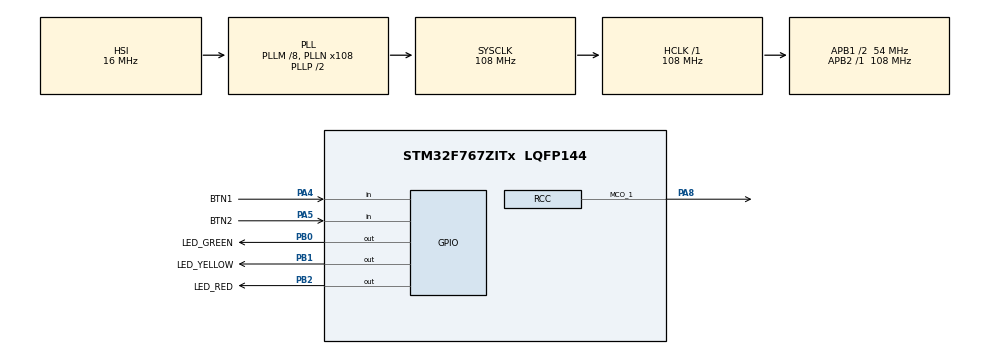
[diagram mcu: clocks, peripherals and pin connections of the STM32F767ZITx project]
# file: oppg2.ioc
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Mcu.Family=STM32F7
Mcu.Name=STM32F767ZITx
Mcu.Package=LQFP144
NVIC.PriorityGroup=NVIC_PRIORITYGROUP_4
PA4.GPIO_Label=BTN1
PA4.Signal=GPIO_Input
PA5.GPIO_Label=BTN2
PA5.Signal=GPIO_Input
PA8.Mode=Clock-out-1
PA8.Signal=RCC_MCO_1
PB0.GPIO_Label=LED_GREEN
PB0.Signal=GPIO_Output
PB1.GPIO_Label=LED_YELLOW
PB1.Signal=GPIO_Output
PB2.GPIO_Label=LED_RED
PB2.Signal=GPIO_Output
PH0/OSC_IN.Mode=HSE-External-Oscillator
PH0/OSC_IN.Signal=RCC_OSC_IN
PH1/OSC_OUT.Mode=HSE-External-Oscillator
PH1/OSC_OUT.Signal=RCC_OSC_OUT
ProjectManager.HeapSize=0x200
ProjectManager.StackSize=0x400
ProjectManager.TargetToolchain=STM32CubeIDE
RCC.48MHZClocksFreq_Value=24000000
RCC.AHBFreq_Value=108000000
RCC.APB1CLKDivider=RCC_HCLK_DIV2
RCC.APB1Freq_Value=54000000
RCC.APB1TimFreq_Value=108000000
RCC.APB2Freq_Value=108000000
RCC.APB2TimFreq_Value=108000000
RCC.CortexFreq_Value=108000000
RCC.HCLKFreq_Value=108000000
RCC.HSE_VALUE=8000000
RCC.HSI_VALUE=16000000
RCC.LSE_VALUE=32768
RCC.PLLM=8
RCC.PLLMUL=RCC_PLL_MUL9
RCC.PLLN=108
RCC.PRESCALERUSB=RCC_USBCLKSOURCE_PLL_DIV1_5
RCC.SYSCLKFreq_VALUE=108000000
RCC.SYSCLKSource=RCC_SYSCLKSOURCE_PLLCLK
RCC.SYSCLKSourceVirtual=RCC_SYSCLKSOURCE_PLLCLK
RCC.USBFreq_Value=108000000
RCC.VCOOutputFreq_Value=216000000
TIM2.Prescaler=54-1
VP_TIM2_VS_ClockSourceINT.Mode=Internal
board=NUCLEO-F767ZI

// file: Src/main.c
/* USER CODE BEGIN Header */
/**
  ******************************************************************************
  * @file           : main.c
  * @brief          : Main program body
  ******************************************************************************
  * @attention
  *
  * Copyright (c) 2025 STMicroelectronics.
  * All rights reserved.
  *
  * This software is licensed under terms that can be found in the LICENSE file
  * in the root directory of this software component.
  * If no LICENSE file comes with this software, it is provided AS-IS.
  *
  ******************************************************************************
  */
/* USER CODE END Header */
#include "main.h"

TIM_HandleTypeDef htim2;

void SystemClock_Config(void);
static void MX_GPIO_Init(void);
static void MX_TIM2_Init(void);

/* USER CODE BEGIN 0 */

int generateRandomNumber(int min, int max) {
  int range_size = max - min + 1;
  return min + (rand() % range_size);
}

/* USER CODE END 0 */

int main(void)
{

  /* USER CODE BEGIN 1 */

  volatile uint32_t timer_val;
  int randTime;

  int p1points = 0;
  int p2points = 0;

  void score(int player){
    HAL_GPIO_WritePin(LED_RED_GPIO_Port, LED_RED_Pin, GPIO_PIN_RESET);
    if(player == 1){
      p1points+=1;
      HAL_GPIO_WritePin(LED_GREEN_GPIO_Port, LED_GREEN_Pin, GPIO_PIN_SET);
      HAL_Delay(3000);
      HAL_GPIO_WritePin(LED_GREEN_GPIO_Port, LED_GREEN_Pin, GPIO_PIN_RESET);
    } else if (player == 2){
      p2points+=1;
      HAL_GPIO_WritePin(LED_YELLOW_GPIO_Port, LED_YELLOW_Pin, GPIO_PIN_SET);
      HAL_Delay(3000);
      HAL_GPIO_WritePin(LED_YELLOW_GPIO_Port, LED_YELLOW_Pin, GPIO_PIN_RESET);
    }
    timer_val = __HAL_TIM_GET_COUNTER(&htim2);
    randTime = generateRandomNumber(3 * 1000 * 1000,20 * 1000 * 1000);
  }
  /* USER CODE END 1 */

  /* MCU Configuration--------------------------------------------------------*/

  /* Reset of all peripherals, Initializes the Flash interface and the Systick. */
  HAL_Init();

  /* Configure the system clock */
  SystemClock_Config();

  /* Initialize all configured peripherals */
  MX_GPIO_Init();
  MX_TIM2_Init();
  /* USER CODE BEGIN 2 */

  // Start timer
  HAL_TIM_Base_Start(&htim2);

  // seed rng
  srand(time(NULL));

  // Get current time (microseconds)
  timer_val = __HAL_TIM_GET_COUNTER(&htim2);

  randTime = generateRandomNumber(3 * 1000 * 1000,20 * 1000 * 1000);

  /* USER CODE END 2 */

  /* Infinite loop */
  while (1)
  {

    /* USER CODE BEGIN 3 */

    int timediff = __HAL_TIM_GET_COUNTER(&htim2) - timer_val;

    if (timediff >= randTime){
        HAL_GPIO_WritePin(LED_RED_GPIO_Port, LED_RED_Pin, GPIO_PIN_SET);
    }

    if (HAL_GPIO_ReadPin(BTN1_GPIO_Port, BTN1_Pin)){
      if (timediff < randTime){
        score(2);
      } else {
        score(1);
      }
    }else if (HAL_GPIO_ReadPin(BTN2_GPIO_Port, BTN2_Pin)){
      if (timediff < randTime){
        score(1);
      } else {
        score(2);
      }
    }
  }
  /* USER CODE END 3 */
}

void SystemClock_Config(void)
{
  RCC_OscInitTypeDef RCC_OscInitStruct = {0};
  RCC_ClkInitTypeDef RCC_ClkInitStruct = {0};

  /** Configure the main internal regulator output voltage
  */
  __HAL_RCC_PWR_CLK_ENABLE();
  __HAL_PWR_VOLTAGESCALING_CONFIG(PWR_REGULATOR_VOLTAGE_SCALE3);

  /** Initializes the RCC Oscillators according to the specified parameters
  * in the RCC_OscInitTypeDef structure.
  */
  RCC_OscInitStruct.OscillatorType = RCC_OSCILLATORTYPE_HSI;
  RCC_OscInitStruct.HSIState = RCC_HSI_ON;
  RCC_OscInitStruct.HSICalibrationValue = RCC_HSICALIBRATION_DEFAULT;
  RCC_OscInitStruct.PLL.PLLState = RCC_PLL_ON;
  RCC_OscInitStruct.PLL.PLLSource = RCC_PLLSOURCE_HSI;
  RCC_OscInitStruct.PLL.PLLM = 8;
  RCC_OscInitStruct.PLL.PLLN = 108;
  RCC_OscInitStruct.PLL.PLLP = RCC_PLLP_DIV2;
  RCC_OscInitStruct.PLL.PLLQ = 2;
  RCC_OscInitStruct.PLL.PLLR = 2;
  if (HAL_RCC_OscConfig(&RCC_OscInitStruct) != HAL_OK)
  {
    Error_Handler();
  }

  /** Activate the Over-Drive mode
  */
  if (HAL_PWREx_EnableOverDrive() != HAL_OK)
  {
    Error_Handler();
  }

  /** Initializes the CPU, AHB and APB buses clocks
  */
  RCC_ClkInitStruct.ClockType = RCC_CLOCKTYPE_HCLK|RCC_CLOCKTYPE_SYSCLK
                              |RCC_CLOCKTYPE_PCLK1|RCC_CLOCKTYPE_PCLK2;
  RCC_ClkInitStruct.SYSCLKSource = RCC_SYSCLKSOURCE_PLLCLK;
  RCC_ClkInitStruct.AHBCLKDivider = RCC_SYSCLK_DIV1;
  RCC_ClkInitStruct.APB1CLKDivider = RCC_HCLK_DIV2;
  RCC_ClkInitStruct.APB2CLKDivider = RCC_HCLK_DIV1;

  if (HAL_RCC_ClockConfig(&RCC_ClkInitStruct, FLASH_LATENCY_3) != HAL_OK)
  {
    Error_Handler();
  }
  HAL_RCC_MCOConfig(RCC_MCO1, RCC_MCO1SOURCE_HSI, RCC_MCODIV_1);
}

static void MX_TIM2_Init(void)
{

  TIM_ClockConfigTypeDef sClockSourceConfig = {0};
  TIM_MasterConfigTypeDef sMasterConfig = {0};

  htim2.Instance = TIM2;
  htim2.Init.Prescaler = 54-1;
  htim2.Init.CounterMode = TIM_COUNTERMODE_UP;
  htim2.Init.Period = 4294967295;
  htim2.Init.ClockDivision = TIM_CLOCKDIVISION_DIV1;
  htim2.Init.AutoReloadPreload = TIM_AUTORELOAD_PRELOAD_DISABLE;
  if (HAL_TIM_Base_Init(&htim2) != HAL_OK)
  {
    Error_Handler();
  }
  sClockSourceConfig.ClockSource = TIM_CLOCKSOURCE_INTERNAL;
  if (HAL_TIM_ConfigClockSource(&htim2, &sClockSourceConfig) != HAL_OK)
  {
    Error_Handler();
  }
  sMasterConfig.MasterOutputTrigger = TIM_TRGO_RESET;
  sMasterConfig.MasterSlaveMode = TIM_MASTERSLAVEMODE_DISABLE;
  if (HAL_TIMEx_MasterConfigSynchronization(&htim2, &sMasterConfig) != HAL_OK)
  {
    Error_Handler();
  }

}

static void MX_GPIO_Init(void)
{
  GPIO_InitTypeDef GPIO_InitStruct = {0};

  /* GPIO Ports Clock Enable */
  __HAL_RCC_GPIOH_CLK_ENABLE();
  __HAL_RCC_GPIOA_CLK_ENABLE();
  __HAL_RCC_GPIOB_CLK_ENABLE();

  /*Configure GPIO pin Output Level */
  HAL_GPIO_WritePin(GPIOB, LED_GREEN_Pin|LED_YELLOW_Pin|LED_RED_Pin, GPIO_PIN_RESET);

  /*Configure GPIO pins : BTN1_Pin BTN2_Pin */
  GPIO_InitStruct.Pin = BTN1_Pin|BTN2_Pin;
  GPIO_InitStruct.Mode = GPIO_MODE_INPUT;
  GPIO_InitStruct.Pull = GPIO_NOPULL;
  HAL_GPIO_Init(GPIOA, &GPIO_InitStruct);

  /*Configure GPIO pins : LED_GREEN_Pin LED_YELLOW_Pin LED_RED_Pin */
  GPIO_InitStruct.Pin = LED_GREEN_Pin|LED_YELLOW_Pin|LED_RED_Pin;
  GPIO_InitStruct.Mode = GPIO_MODE_OUTPUT_PP;
  GPIO_InitStruct.Pull = GPIO_NOPULL;
  GPIO_InitStruct.Speed = GPIO_SPEED_FREQ_LOW;
  HAL_GPIO_Init(GPIOB, &GPIO_InitStruct);

  /*Configure GPIO pin : PA8 */
  GPIO_InitStruct.Pin = GPIO_PIN_8;
  GPIO_InitStruct.Mode = GPIO_MODE_AF_PP;
  GPIO_InitStruct.Pull = GPIO_NOPULL;
  GPIO_InitStruct.Speed = GPIO_SPEED_FREQ_LOW;
  GPIO_InitStruct.Alternate = GPIO_AF0_MCO;
  HAL_GPIO_Init(GPIOA, &GPIO_InitStruct);

}

void Error_Handler(void)
{
  __disable_irq();
  while (1)
  {
  }
}
